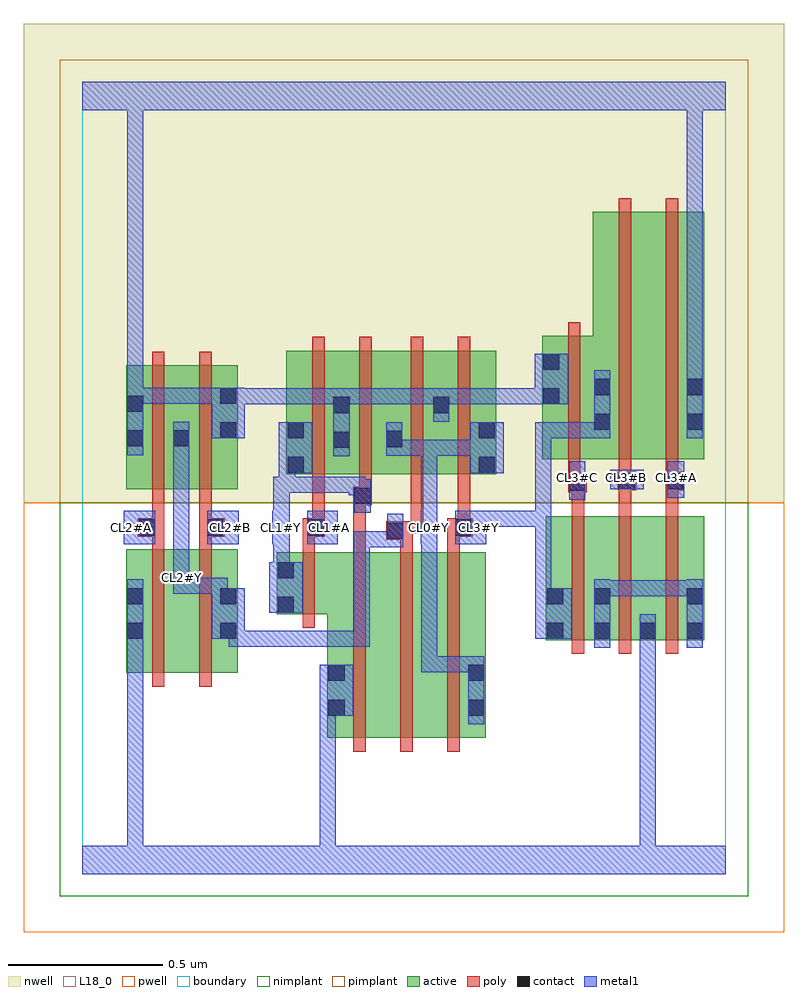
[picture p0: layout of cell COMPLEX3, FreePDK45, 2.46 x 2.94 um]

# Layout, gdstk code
import gdstk
lib = gdstk.Library(unit=1e-6, precision=1e-09)
def R(c, l, rs):  # rectangles x0, y0, x1, y1
    for r in rs: c.add(gdstk.rectangle(r[:2], r[2:], *l))
def A(c, l, x, y, w, h, nx, ny, dx, dy):  # array of equal rectangles
    R(c, l, [(x+i*dx, y+j*dy, x+i*dx+w, y+j*dy+h) for i in range(nx) for j in range(ny)])
active = (1, 0)
pwell = (2, 0)
nwell = (3, 0)
nimplant = (4, 0)
pimplant = (5, 0)
poly = (9, 0)
contact = (10, 0)
metal1 = (11, 0)
L18_0 = (18, 0)
boundary = (235, 0)

complex3 = lib.new_cell('COMPLEX3')
R(complex3, active, [(0.792,0.44,0.972,1.04), (0.792,0.44,0.852,1.04), (0.972,0.44,1.124,1.04), (1.124,0.44,1.304,1.04), (1.244,0.45,1.304,1.04), (0.142,0.65,0.202,1.05), (0.142,0.65,0.322,1.05), (0.322,0.65,0.502,1.05), (0.442,0.65,0.502,1.05), (1.498,0.756,1.558,1.156), (1.498,0.756,1.71,1.156), (1.65,0.756,1.71,1.156), (1.65,0.756,1.858,1.156), (1.798,0.756,1.858,1.156), (1.798,0.756,2.01,1.156), (1.95,0.756,2.01,1.156), (0.628,0.84,0.852,1.04), (0.628,0.84,0.688,1.04), (0.142,1.244,0.202,1.644), (0.142,1.244,0.35,1.644), (0.29,1.244,0.35,1.644), (0.29,1.244,0.502,1.644), (0.442,1.244,0.502,1.644), (0.66,1.292,0.868,1.692), (0.66,1.292,0.72,1.644), (0.808,1.292,0.868,1.644), (0.808,1.292,1.038,1.692), (0.978,1.292,1.19,1.692), (0.978,1.292,1.038,1.644), (1.13,1.292,1.338,1.692), (1.13,1.292,1.19,1.644), (1.278,1.292,1.338,1.644), (1.486,1.34,1.546,1.74), (1.486,1.34,1.71,1.74), (1.65,1.34,1.71,2.14), (1.65,1.34,1.83,2.14), (1.83,1.34,2.01,2.14), (1.95,1.34,2.01,2.14)])
R(complex3, pwell, [(-0.188,-0.188,2.268,1.2)])
R(complex3, nwell, [(-0.188,1.2,2.268,2.748)])
R(complex3, nimplant, [(-0.072,-0.072,2.152,1.2)])
R(complex3, pimplant, [(-0.072,1.2,2.152,2.632)])
A(complex3, poly, 0.876, 0.396, 0.04, 0.688, 3, 1, 0.152, 0)
A(complex3, poly, 1.582, 0.712, 0.04, 0.488, 3, 1, 0.152, 0)
R(complex3, poly, [(0.226,0.606,0.266,1.094), (0.378,0.606,0.418,1.094), (0.712,0.796,0.752,1.084), (0.712,1.044,0.752,1.13), (0.876,1.044,0.916,1.232), (1.028,1.044,1.068,1.12), (1.18,1.044,1.22,1.13), (0.226,1.054,0.266,1.13), (0.378,1.054,0.418,1.13), (0.982,1.08,1.068,1.14), (0.18,1.09,0.266,1.15), (0.226,1.09,0.266,1.13), (0.226,1.09,0.266,1.13), (0.378,1.09,0.418,1.13), (0.378,1.09,0.418,1.13), (0.378,1.09,0.46,1.15), (0.712,1.09,0.784,1.15), (1.18,1.09,1.262,1.15), (1.028,1.1,1.068,1.14), (1.028,1.1,1.102,1.14), (1.062,1.1,1.102,1.288), (0.226,1.11,0.266,1.24), (0.378,1.11,0.418,1.24), (0.744,1.11,0.784,1.15), (0.744,1.11,0.784,1.15), (0.744,1.11,0.784,1.288), (1.214,1.11,1.254,1.15), (1.214,1.11,1.254,1.15), (1.214,1.11,1.254,1.288), (1.582,1.16,1.622,1.274), (1.734,1.16,1.774,1.28), (1.886,1.16,1.926,1.28), (0.876,1.192,0.916,1.232), (0.876,1.192,0.916,1.232), (0.876,1.192,0.936,1.252), (0.226,1.2,0.266,1.688), (0.378,1.2,0.418,1.688), (0.896,1.212,0.936,1.288), (1.57,1.234,1.63,1.294), (1.73,1.24,1.79,1.3), (1.734,1.24,1.774,1.28), (1.734,1.24,1.774,1.28), (1.886,1.24,1.926,1.28), (1.886,1.24,1.926,1.28), (1.886,1.24,1.946,1.3), (0.744,1.248,0.784,1.736), (0.896,1.248,0.936,1.736), (1.062,1.248,1.102,1.736), (1.214,1.248,1.254,1.736), (1.57,1.254,1.61,1.294), (1.57,1.254,1.61,1.294), (1.57,1.254,1.61,1.336), (1.734,1.26,1.774,1.336), (1.886,1.26,1.926,1.336), (1.57,1.296,1.61,1.784), (1.734,1.296,1.774,2.184), (1.886,1.296,1.926,2.184)])
R(complex3, contact, [(0.796,0.512,0.848,0.564), (1.248,0.512,1.3,0.564), (0.796,0.624,0.848,0.676), (1.248,0.624,1.3,0.676), (0.146,0.76,0.198,0.812), (0.446,0.76,0.498,0.812), (1.502,0.76,1.554,0.812), (1.654,0.76,1.706,0.812), (1.802,0.76,1.854,0.812), (1.954,0.76,2.006,0.812), (0.632,0.844,0.684,0.896), (0.146,0.872,0.198,0.924), (0.446,0.872,0.498,0.924), (1.502,0.872,1.554,0.924), (1.654,0.872,1.706,0.924), (1.954,0.872,2.006,0.924), (0.632,0.956,0.684,1.008), (0.986,1.084,1.038,1.136), (0.184,1.094,0.236,1.146), (0.404,1.094,0.456,1.146), (0.728,1.094,0.78,1.146), (1.206,1.094,1.258,1.146), (0.88,1.196,0.932,1.248), (1.574,1.238,1.626,1.29), (1.734,1.244,1.786,1.296), (1.89,1.244,1.942,1.296), (0.664,1.296,0.716,1.348), (1.282,1.296,1.334,1.348), (0.812,1.378,0.864,1.43), (0.982,1.38,1.034,1.432), (0.146,1.382,0.198,1.434), (0.294,1.382,0.346,1.434), (0.446,1.408,0.498,1.46), (0.664,1.408,0.716,1.46), (1.282,1.408,1.334,1.46), (1.654,1.436,1.706,1.488), (1.954,1.436,2.006,1.488), (0.812,1.49,0.864,1.542), (1.134,1.49,1.186,1.542), (0.146,1.494,0.198,1.546), (1.49,1.518,1.542,1.57), (0.446,1.52,0.498,1.572), (1.654,1.548,1.706,1.6), (1.954,1.548,2.006,1.6), (1.49,1.63,1.542,1.682)])
R(complex3, metal1, [(0,0,2.08,0.092), (0.146,0.04,0.198,0.092), (0.146,0.04,0.198,0.092), (0.146,0.04,0.198,0.092), (0.146,0.04,0.198,0.092), (0.146,0.04,0.198,0.092), (0.146,0.04,0.198,0.092), (0.146,0.04,0.198,0.092), (0.146,0.04,0.198,0.092), (0.146,0.04,0.198,0.092), (0.146,0.04,0.198,0.092), (0.146,0.04,0.198,0.092), (0.146,0.04,0.198,0.092), (0.146,0.04,0.198,0.784), (0.768,0.04,0.82,0.092), (0.768,0.04,0.82,0.092), (0.768,0.04,0.82,0.092), (0.768,0.04,0.82,0.092), (0.768,0.04,0.82,0.092), (0.768,0.04,0.82,0.092), (0.768,0.04,0.82,0.092), (0.768,0.04,0.82,0.092), (0.768,0.04,0.82,0.564), (1.802,0.04,1.854,0.092), (1.802,0.04,1.854,0.092), (1.802,0.04,1.854,0.092), (1.802,0.04,1.854,0.092), (1.802,0.04,1.854,0.092), (1.802,0.04,1.854,0.092), (1.802,0.04,1.854,0.092), (1.802,0.04,1.854,0.092), (1.802,0.04,1.854,0.092), (1.802,0.04,1.854,0.092), (1.802,0.04,1.854,0.092), (1.802,0.04,1.854,0.092), (1.802,0.04,1.854,0.784), (1.248,0.484,1.3,0.704), (0.768,0.512,0.876,0.676), (1.096,0.652,1.148,0.704), (1.096,0.652,1.3,0.704), (1.096,0.652,1.148,1.118), (1.248,0.652,1.3,0.704), (1.248,0.652,1.3,0.704), (0.146,0.732,0.198,0.952), (1.654,0.732,1.706,0.952), (1.802,0.732,1.854,0.84), (1.954,0.732,2.006,0.952), (0.474,0.734,0.526,0.786), (0.474,0.734,0.58,0.786), (0.474,0.734,0.526,0.812), (0.528,0.734,0.58,0.786), (0.528,0.734,0.822,0.786), (0.77,0.734,0.822,0.786), (0.77,0.734,0.928,0.786), (0.876,0.734,0.928,0.786), (0.876,0.734,0.928,0.786), (0.876,0.734,0.93,0.786), (0.878,0.734,0.93,1.108), (0.418,0.76,0.526,0.924), (1.464,0.76,1.582,0.924), (0.604,0.844,0.712,1.008), (0.418,0.872,0.47,0.958), (1.464,0.872,1.516,1.174), (1.654,0.898,1.706,0.95), (1.654,0.898,1.706,0.95), (1.654,0.898,1.896,0.95), (1.844,0.898,1.896,0.95), (1.844,0.898,1.896,0.95), (1.844,0.898,1.896,0.95), (1.844,0.898,2.006,0.95), (0.294,0.906,0.346,1.014), (0.294,0.906,0.47,0.958), (0.418,0.906,0.47,0.958), (0.418,0.906,0.47,0.958), (0.418,0.906,0.47,0.958), (0.618,0.956,0.67,1.118), (0.294,0.962,0.346,1.014), (0.294,0.962,0.346,1.014), (0.294,0.962,0.346,1.406), (0.878,1.056,0.93,1.108), (0.878,1.056,0.932,1.108), (0.88,1.056,0.932,1.108), (0.88,1.056,1.038,1.108), (0.986,1.056,1.038,1.108), (0.986,1.056,1.038,1.108), (0.986,1.056,1.038,1.164), (0.134,1.066,0.236,1.174), (0.404,1.066,0.506,1.174), (0.614,1.066,0.67,1.174), (0.728,1.066,0.826,1.174), (1.094,1.066,1.148,1.174), (1.206,1.066,1.306,1.174), (0.618,1.122,0.67,1.284), (1.096,1.122,1.148,1.174), (1.096,1.122,1.148,1.174), (1.096,1.122,1.148,1.404), (1.254,1.122,1.306,1.174), (1.254,1.122,1.306,1.174), (1.254,1.122,1.516,1.174), (1.464,1.122,1.516,1.174), (1.464,1.122,1.516,1.174), (1.464,1.122,1.516,1.174), (1.464,1.122,1.516,1.46), (0.88,1.168,0.932,1.276), (1.574,1.21,1.626,1.334), (1.89,1.216,1.946,1.334), (0.862,1.224,0.932,1.276), (0.862,1.224,0.914,1.284), (0.618,1.232,0.688,1.284), (0.636,1.232,0.688,1.284), (0.636,1.232,0.688,1.284), (0.636,1.232,0.914,1.284), (0.636,1.232,0.688,1.348), (1.706,1.244,1.814,1.306), (0.636,1.296,0.744,1.46), (1.254,1.296,1.362,1.46), (0.812,1.35,0.864,1.57), (0.982,1.352,1.034,1.46), (0.982,1.352,1.076,1.404), (1.024,1.352,1.076,1.404), (1.024,1.352,1.148,1.404), (1.096,1.352,1.148,1.404), (1.096,1.352,1.306,1.404), (1.254,1.352,1.306,1.404), (1.254,1.352,1.306,1.404), (0.146,1.354,0.198,1.574), (0.294,1.354,0.346,1.462), (0.418,1.408,0.526,1.572), (1.464,1.408,1.516,1.46), (1.464,1.408,1.516,1.46), (1.464,1.408,1.516,1.46), (1.464,1.408,1.706,1.46), (1.654,1.408,1.706,1.628), (1.954,1.408,2.006,1.628), (1.134,1.462,1.186,1.57), (0.474,1.518,0.636,1.57), (0.584,1.518,0.636,1.57), (0.584,1.518,0.636,1.57), (0.584,1.518,0.636,1.57), (0.584,1.518,0.864,1.57), (0.812,1.518,0.932,1.57), (0.88,1.518,0.932,1.57), (0.88,1.518,1.038,1.57), (0.986,1.518,1.038,1.57), (0.986,1.518,1.042,1.57), (0.99,1.518,1.042,1.57), (0.99,1.518,1.186,1.57), (1.134,1.518,1.186,1.57), (1.134,1.518,1.186,1.57), (1.134,1.518,1.296,1.57), (1.244,1.518,1.296,1.57), (1.244,1.518,1.514,1.57), (1.462,1.518,1.57,1.682), (0.146,1.52,0.308,1.572), (0.256,1.52,0.308,1.572), (0.256,1.52,0.308,1.572), (0.256,1.52,0.308,1.572), (0.256,1.52,0.47,1.572), (0.418,1.52,0.47,1.572), (0.418,1.52,0.47,1.572), (0.146,1.522,0.198,1.574), (0.146,1.522,0.198,1.574), (0.146,1.522,0.198,1.574), (0.146,1.522,0.198,1.574), (0.146,1.522,0.198,1.574), (0.146,1.522,0.198,1.574), (0.146,1.522,0.198,1.574), (0.146,1.522,0.198,1.574), (0.146,1.522,0.198,2.52), (1.954,1.576,2.006,2.52), (0,2.468,2.08,2.56), (0.146,2.468,0.198,2.52), (0.146,2.468,0.198,2.52), (0.146,2.468,0.198,2.52), (0.146,2.468,0.198,2.52), (0.146,2.468,0.198,2.52), (0.146,2.468,0.198,2.52), (0.146,2.468,0.198,2.52), (0.146,2.468,0.198,2.52), (1.954,2.468,2.006,2.52), (1.954,2.468,2.006,2.52), (1.954,2.468,2.006,2.52), (1.954,2.468,2.006,2.52), (1.954,2.468,2.006,2.52), (1.954,2.468,2.006,2.52), (1.954,2.468,2.006,2.52), (1.954,2.468,2.006,2.52)])
A(complex3, L18_0, 0.454, 1.094, 0.052, 0.052, 3, 1, 0.16, 0)
A(complex3, L18_0, 1.574, 1.254, 0.052, 0.052, 3, 1, 0.16, 0)
R(complex3, L18_0, [(0,0,2.08,0.092), (0.146,0.04,0.198,0.092), (0.146,0.04,0.198,0.092), (0.146,0.04,0.198,0.092), (0.146,0.04,0.198,0.092), (0.146,0.04,0.198,0.092), (0.146,0.04,0.198,0.092), (0.146,0.04,0.198,0.092), (0.146,0.04,0.198,0.092), (0.146,0.04,0.198,0.092), (0.146,0.04,0.198,0.092), (0.146,0.04,0.198,0.092), (0.146,0.04,0.198,0.092), (0.146,0.04,0.198,0.784), (0.768,0.04,0.82,0.092), (0.768,0.04,0.82,0.092), (0.768,0.04,0.82,0.092), (0.768,0.04,0.82,0.092), (0.768,0.04,0.82,0.092), (0.768,0.04,0.82,0.092), (0.768,0.04,0.82,0.092), (0.768,0.04,0.82,0.092), (0.768,0.04,0.82,0.564), (1.802,0.04,1.854,0.092), (1.802,0.04,1.854,0.092), (1.802,0.04,1.854,0.092), (1.802,0.04,1.854,0.092), (1.802,0.04,1.854,0.092), (1.802,0.04,1.854,0.092), (1.802,0.04,1.854,0.092), (1.802,0.04,1.854,0.092), (1.802,0.04,1.854,0.092), (1.802,0.04,1.854,0.092), (1.802,0.04,1.854,0.092), (1.802,0.04,1.854,0.092), (1.802,0.04,1.854,0.784), (1.248,0.484,1.3,0.704), (0.768,0.512,0.876,0.676), (1.096,0.652,1.148,0.704), (1.096,0.652,1.148,1.118), (1.096,0.652,1.3,0.704), (1.248,0.652,1.3,0.704), (1.248,0.652,1.3,0.704), (0.146,0.732,0.198,0.952), (1.802,0.732,1.854,0.84), (0.474,0.734,0.526,0.786), (0.474,0.734,0.526,0.812), (0.474,0.734,0.58,0.786), (0.528,0.734,0.58,0.786), (0.528,0.734,0.822,0.786), (0.77,0.734,0.822,0.786), (0.77,0.734,0.928,0.786), (0.876,0.734,0.928,0.786), (0.876,0.734,0.928,0.786), (0.876,0.734,0.93,0.786), (0.878,0.734,0.93,1.108), (0.418,0.76,0.526,0.924), (1.464,0.76,1.582,0.924), (0.604,0.844,0.712,1.008), (0.418,0.872,0.47,0.958), (1.464,0.872,1.516,1.174), (0.294,0.906,0.346,1.014), (0.294,0.906,0.47,0.958), (0.418,0.906,0.47,0.958), (0.418,0.906,0.47,0.958), (0.418,0.906,0.47,0.958), (0.294,0.934,0.346,0.986), (0.618,0.956,0.67,1.118), (0.294,0.962,0.346,1.014), (0.294,0.962,0.346,1.014), (0.294,0.962,0.346,1.406), (0.878,1.056,0.93,1.108), (0.878,1.056,0.932,1.108), (0.88,1.056,0.932,1.108), (0.88,1.056,1.038,1.108), (0.986,1.056,1.038,1.108), (0.986,1.056,1.038,1.108), (0.986,1.056,1.038,1.164), (0.134,1.066,0.236,1.174), (0.404,1.066,0.506,1.174), (0.614,1.066,0.67,1.174), (0.728,1.066,0.826,1.174), (1.094,1.066,1.148,1.174), (1.206,1.066,1.306,1.174), (0.134,1.094,0.186,1.146), (1.094,1.094,1.146,1.146), (1.254,1.094,1.306,1.146), (0.618,1.122,0.67,1.284), (1.096,1.122,1.148,1.174), (1.096,1.122,1.148,1.174), (1.096,1.122,1.148,1.404), (1.254,1.122,1.306,1.174), (1.254,1.122,1.306,1.174), (1.254,1.122,1.516,1.174), (1.464,1.122,1.516,1.174), (1.464,1.122,1.516,1.174), (1.464,1.122,1.516,1.174), (1.464,1.122,1.516,1.46), (0.88,1.168,0.932,1.276), (1.574,1.21,1.626,1.334), (1.89,1.216,1.946,1.334), (0.862,1.224,0.932,1.276), (0.862,1.224,0.914,1.284), (0.618,1.232,0.688,1.284), (0.636,1.232,0.688,1.284), (0.636,1.232,0.688,1.284), (0.636,1.232,0.688,1.348), (0.636,1.232,0.914,1.284), (1.706,1.244,1.814,1.306), (0.636,1.296,0.744,1.46), (1.254,1.296,1.362,1.46), (0.812,1.35,0.864,1.57), (0.982,1.352,1.034,1.46), (0.982,1.352,1.076,1.404), (1.024,1.352,1.076,1.404), (1.024,1.352,1.148,1.404), (1.096,1.352,1.148,1.404), (1.096,1.352,1.306,1.404), (1.254,1.352,1.306,1.404), (1.254,1.352,1.306,1.404), (0.146,1.354,0.198,1.574), (0.294,1.354,0.346,1.462), (0.418,1.408,0.526,1.572), (1.464,1.408,1.516,1.46), (1.464,1.408,1.516,1.46), (1.464,1.408,1.516,1.46), (1.464,1.408,1.706,1.46), (1.654,1.408,1.706,1.628), (1.954,1.408,2.006,1.628), (1.134,1.462,1.186,1.57), (0.474,1.518,0.636,1.57), (0.584,1.518,0.636,1.57), (0.584,1.518,0.636,1.57), (0.584,1.518,0.636,1.57), (0.584,1.518,0.864,1.57), (0.812,1.518,0.932,1.57), (0.88,1.518,0.932,1.57), (0.88,1.518,1.038,1.57), (0.986,1.518,1.038,1.57), (0.986,1.518,1.042,1.57), (0.99,1.518,1.042,1.57), (0.99,1.518,1.186,1.57), (1.134,1.518,1.186,1.57), (1.134,1.518,1.186,1.57), (1.134,1.518,1.296,1.57), (1.244,1.518,1.296,1.57), (1.244,1.518,1.514,1.57), (1.462,1.518,1.57,1.682), (0.146,1.52,0.308,1.572), (0.256,1.52,0.308,1.572), (0.256,1.52,0.308,1.572), (0.256,1.52,0.308,1.572), (0.256,1.52,0.47,1.572), (0.418,1.52,0.47,1.572), (0.418,1.52,0.47,1.572), (0.146,1.522,0.198,1.574), (0.146,1.522,0.198,1.574), (0.146,1.522,0.198,1.574), (0.146,1.522,0.198,1.574), (0.146,1.522,0.198,1.574), (0.146,1.522,0.198,1.574), (0.146,1.522,0.198,1.574), (0.146,1.522,0.198,1.574), (0.146,1.522,0.198,2.52), (1.954,1.576,2.006,2.52), (0,2.468,2.08,2.56), (0.146,2.468,0.198,2.52), (0.146,2.468,0.198,2.52), (0.146,2.468,0.198,2.52), (0.146,2.468,0.198,2.52), (0.146,2.468,0.198,2.52), (0.146,2.468,0.198,2.52), (0.146,2.468,0.198,2.52), (0.146,2.468,0.198,2.52), (1.954,2.468,2.006,2.52), (1.954,2.468,2.006,2.52), (1.954,2.468,2.006,2.52), (1.954,2.468,2.006,2.52), (1.954,2.468,2.006,2.52), (1.954,2.468,2.006,2.52), (1.954,2.468,2.006,2.52), (1.954,2.468,2.006,2.52)])
R(complex3, boundary, [(0,0,2.08,2.56)])
complex3.add(gdstk.Label('CL0#Y', (1.12,1.12), layer=11, texttype=0))
complex3.add(gdstk.Label('CL1#A', (0.8,1.12), layer=11, texttype=0))
complex3.add(gdstk.Label('CL1#Y', (0.64,1.12), layer=11, texttype=0))
complex3.add(gdstk.Label('CL2#A', (0.16,1.12), layer=11, texttype=0))
complex3.add(gdstk.Label('CL2#B', (0.48,1.12), layer=11, texttype=0))
complex3.add(gdstk.Label('CL2#Y', (0.32,0.96), layer=11, texttype=0))
complex3.add(gdstk.Label('CL3#A', (1.92,1.28), layer=11, texttype=0))
complex3.add(gdstk.Label('CL3#B', (1.76,1.28), layer=11, texttype=0))
complex3.add(gdstk.Label('CL3#C', (1.6,1.28), layer=11, texttype=0))
complex3.add(gdstk.Label('CL3#Y', (1.28,1.12), layer=11, texttype=0))

lib.write_gds('COMPLEX3.gds')
